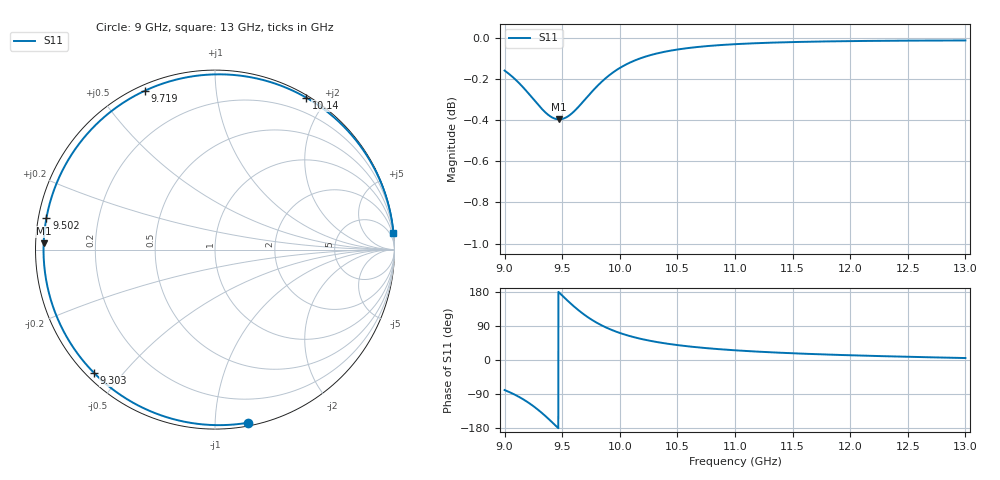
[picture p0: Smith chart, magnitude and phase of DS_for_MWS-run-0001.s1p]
! TOUCHSTONE file generated by CST DESIGN STUDIO
! Date and time: Tue Feb  4 13:33:38 2025
! Project name: C:\Work\MatlabApps\UnitCellOptimizationMatlab\CST\unitcell.cst
! Tree item: Tasks\Sweep1\SPara1\S-Parameters
! Header version: 2024
! Port assignment regex: !\s*Touchstone port\s*([0-9]+)\s*=\s*(CST MWS port|CST DES external port|CST DES block port)\s*(.+)\s* \(\"(.*)\"\)(\s*mode\s*([0-9]+))?.*
! Touchstone port assignment:
! Touchstone port 1 = CST DES external port 1 ("")
# GHz S MA R 50
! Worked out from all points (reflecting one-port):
!   4001 points, 9 GHz to 13 GHz, reference 50 ohm
!   lowest |S11| = -0.4 dB at 9.473 GHz (marker M1), VSWR 43.87, Z = 1.14 + j0.889 ohm
!   phase of S11 starts at -79 deg and turns -276 deg over the sweep
!   S11 on the Smith chart (normalised r, x): 9 GHz: 0.02, -1.21; 9.303 GHz: 0.02, -0.42; 9.502 GHz: 0.02, +0.09; 9.719 GHz: 0.02, +0.65; 10.14 GHz: 0.03, +1.77; 13 GHz: 0, +22
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9  0.9819 -79.3
9.074  0.9781 -89.3
9.171  0.972 -105.5
9.239  0.9671 -119.4
9.303  0.9624 -134.5
9.348  0.9595 -146.2
9.395  0.9571 -159.3
9.435  0.9558 -170.9
9.473  0.9554 178.0
9.5  0.9556 170.0
9.502  0.9557 169.4
9.554  0.9572 154.5
9.614  0.9604 138.3
9.666  0.9638 125.4
9.719  0.9676 113.7
9.775  0.9715 102.8
9.837  0.9754 92.3
9.917  0.9797 80.9
10  0.9833 71.3
10.139  0.9877 59.0
10.302  0.991 48.5
10.5  0.9935 39.4
10.722  0.9952 32.1
11  0.9965 25.6
11.5  0.9976 17.8
12  0.9982 12.5
12.5  0.9985 8.5
13  0.9985 5.2
